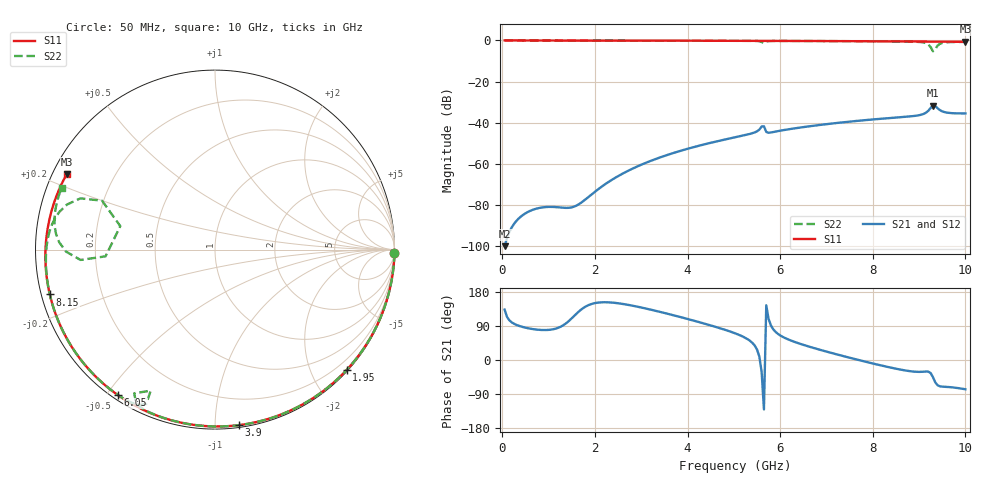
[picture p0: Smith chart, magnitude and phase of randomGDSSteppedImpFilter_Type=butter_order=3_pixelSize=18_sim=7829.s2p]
! freq	dB(S11)	phase(S11)	dB(S12)	phase(S12)
!  dB(S21)	phase(S21)	dB(S22)	phase(S22)
!S-par simulation data
#  GHz  S  DB  R 50
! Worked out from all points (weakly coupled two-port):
!   200 points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, 50 MHz to 10 GHz, reference 50 ohm
!   highest |S21| = -31.74 dB at 9.3 GHz (marker M1); lowest = -100.2 dB at 50 MHz (marker M2)
!   lowest |S11| = -0.7 dB at 10 GHz (marker M3), VSWR 26.42, Z = 2 + j11.9 ohm
!   |S11| at or under -10 dB: nowhere
!   |S22| runs from -5.3 to 0.0 dB; largest |S21 - S12| = 0
!   S11 on the Smith chart (normalised r, x): 50 MHz: open; 1.95 GHz: 0.02, -2.58; 3.9 GHz: 0.02, -1.14; 6.05 GHz: 0.02, -0.54; 8.15 GHz: 0.02, -0.13; 10 GHz: 0.04, +0.24
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0.05  -0.00 -1.1  -100.20 132.9  -100.20 132.9  -0.00 -1.1
1.6  -0.04 -35.0  -80.45 122.0  -80.45 122.0  -0.04 -35.2
1.75  -0.05 -38.2  -78.24 137.3  -78.24 137.3  -0.05 -38.4
1.95  -0.05 -42.4  -74.61 148.7  -74.61 148.7  -0.05 -42.7
2.6  -0.07 -56.0  -64.84 148.0  -64.84 148.0  -0.07 -56.4
3.4  -0.10 -72.3  -57.03 127.2  -57.03 127.2  -0.10 -72.8
3.9  -0.11 -82.3  -53.41 111.6  -53.41 111.6  -0.11 -82.8
5.05  -0.16 -104.6  -47.07 69.4  -47.07 69.4  -0.17 -105.5
5.45  -0.18 -112.3  -44.80 38.2  -44.80 38.2  -0.22 -114.1
5.6  -0.20 -115.2  -41.92 -31.3  -41.92 -31.3  -0.74 -119.4
5.65  -0.21 -116.1  -41.82 -130.4  -41.82 -130.4  -1.27 -114.5
5.75  -0.21 -117.9  -44.97 108.5  -44.97 108.5  -0.33 -116.0
6.05  -0.22 -123.7  -43.75 61.4  -43.75 61.4  -0.23 -123.4
6.7  -0.27 -136.1  -41.60 32.6  -41.60 32.6  -0.27 -136.2
8.15  -0.41 -164.8  -38.19 -13.5  -38.19 -13.5  -0.42 -165.7
8.35  -0.43 -169.0  -37.82 -19.1  -37.82 -19.1  -0.45 -170.3
9.05  -0.52 175.8  -36.15 -31.3  -36.15 -31.3  -0.83 169.0
9.2  -0.54 172.4  -34.22 -30.7  -34.22 -30.7  -1.91 159.2
9.3  -0.56 170.1  -31.74 -45.4  -31.74 -45.4  -5.29 166.1
9.35  -0.56 168.9  -31.97 -59.1  -31.97 -59.1  -4.28 -176.5
9.5  -0.58 165.4  -34.54 -70.3  -34.54 -70.3  -1.22 177.3
10  -0.66 153.1  -35.53 -77.2  -35.53 -77.2  -0.71 158.0
